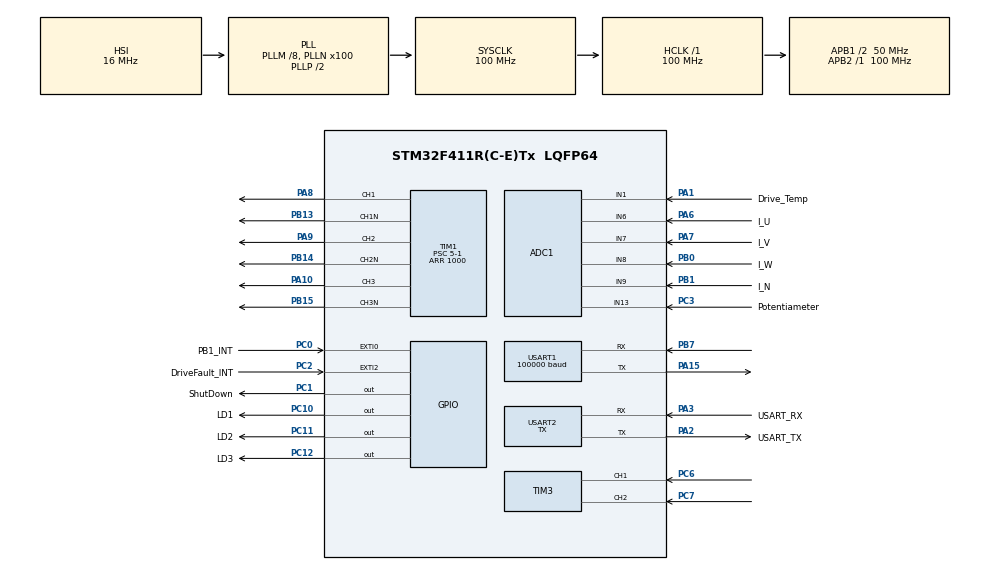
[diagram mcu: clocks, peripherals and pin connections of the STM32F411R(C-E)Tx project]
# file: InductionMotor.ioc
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ADC1.Channel-0\#ChannelRegularConversion=ADC_CHANNEL_1
ADC1.Channel-1\#ChannelRegularConversion=ADC_CHANNEL_6
ADC1.Channel-2\#ChannelRegularConversion=ADC_CHANNEL_7
ADC1.Channel-3\#ChannelRegularConversion=ADC_CHANNEL_8
ADC1.Channel-4\#ChannelRegularConversion=ADC_CHANNEL_9
ADC1.Channel-5\#ChannelRegularConversion=ADC_CHANNEL_13
ADC1.Channel-6\#ChannelRegularConversion=ADC_CHANNEL_TEMPSENSOR
ADC1.ContinuousConvMode=ENABLE
ADC1.DMAContinuousRequests=ENABLE
ADC1.EOCSelection=ADC_EOC_SEQ_CONV
ADC1.NbrOfConversion=7
ADC1.NbrOfConversionFlag=1
ADC1.Rank-0\#ChannelRegularConversion=1
ADC1.Rank-1\#ChannelRegularConversion=2
ADC1.Rank-2\#ChannelRegularConversion=3
ADC1.Rank-3\#ChannelRegularConversion=4
ADC1.Rank-4\#ChannelRegularConversion=5
ADC1.Rank-5\#ChannelRegularConversion=6
ADC1.Rank-6\#ChannelRegularConversion=7
ADC1.SamplingTime-0\#ChannelRegularConversion=ADC_SAMPLETIME_144CYCLES
ADC1.SamplingTime-1\#ChannelRegularConversion=ADC_SAMPLETIME_144CYCLES
ADC1.SamplingTime-2\#ChannelRegularConversion=ADC_SAMPLETIME_144CYCLES
ADC1.SamplingTime-3\#ChannelRegularConversion=ADC_SAMPLETIME_144CYCLES
ADC1.SamplingTime-4\#ChannelRegularConversion=ADC_SAMPLETIME_144CYCLES
ADC1.SamplingTime-5\#ChannelRegularConversion=ADC_SAMPLETIME_144CYCLES
ADC1.SamplingTime-6\#ChannelRegularConversion=ADC_SAMPLETIME_144CYCLES
ADC1.ScanConvMode=ENABLE
ADC1.master=1
Dma.ADC1.1.Direction=DMA_PERIPH_TO_MEMORY
Dma.ADC1.1.FIFOMode=DMA_FIFOMODE_DISABLE
Dma.ADC1.1.Instance=DMA2_Stream0
Dma.ADC1.1.MemDataAlignment=DMA_MDATAALIGN_HALFWORD
Dma.ADC1.1.MemInc=DMA_MINC_ENABLE
Dma.ADC1.1.Mode=DMA_CIRCULAR
Dma.ADC1.1.PeriphDataAlignment=DMA_PDATAALIGN_HALFWORD
Dma.ADC1.1.PeriphInc=DMA_PINC_DISABLE
Dma.ADC1.1.Priority=DMA_PRIORITY_LOW
Dma.Request0=USART1_RX
Dma.Request1=ADC1
Dma.USART1_RX.0.Direction=DMA_PERIPH_TO_MEMORY
Dma.USART1_RX.0.FIFOMode=DMA_FIFOMODE_DISABLE
Dma.USART1_RX.0.Instance=DMA2_Stream2
Dma.USART1_RX.0.MemDataAlignment=DMA_MDATAALIGN_BYTE
Dma.USART1_RX.0.MemInc=DMA_MINC_ENABLE
Dma.USART1_RX.0.Mode=DMA_CIRCULAR
Dma.USART1_RX.0.PeriphDataAlignment=DMA_PDATAALIGN_BYTE
Dma.USART1_RX.0.PeriphInc=DMA_PINC_DISABLE
Dma.USART1_RX.0.Priority=DMA_PRIORITY_LOW
Mcu.Family=STM32F4
Mcu.Name=STM32F411R(C-E)Tx
Mcu.Package=LQFP64
NVIC.ADC_IRQn=true\:0\:0\:true\:false\:true\:true\:true\:true
NVIC.DMA2_Stream0_IRQn=true\:0\:0\:false\:false\:true\:false\:true\:true
NVIC.DMA2_Stream2_IRQn=true\:0\:0\:false\:false\:true\:false\:true\:true
NVIC.EXTI0_IRQn=true\:0\:0\:false\:false\:true\:true\:true\:true
NVIC.EXTI2_IRQn=true\:0\:0\:false\:false\:true\:true\:true\:true
NVIC.PriorityGroup=NVIC_PRIORITYGROUP_0
NVIC.TIM1_UP_TIM10_IRQn=true\:0\:0\:false\:false\:true\:true\:true\:true
NVIC.TIM3_IRQn=true\:0\:0\:false\:false\:true\:true\:true\:true
NVIC.USART2_IRQn=true\:0\:0\:false\:false\:true\:true\:true\:true
PA1.GPIO_Label=Drive_Temp
PA1.Signal=ADCx_IN1
PA10.Signal=S_TIM1_CH3
PA13.GPIO_Label=TMS
PA13.Mode=Trace_Asynchronous_SW
PA13.Signal=SYS_JTMS-SWDIO
PA14.GPIO_Label=TCK
PA14.Mode=Trace_Asynchronous_SW
PA14.Signal=SYS_JTCK-SWCLK
PA15.Mode=Asynchronous
PA15.Signal=USART1_TX
PA2.GPIO_Label=USART_TX
PA2.Mode=Asynchronous
PA2.Signal=USART2_TX
PA3.GPIO_Label=USART_RX
PA3.Mode=Asynchronous
PA3.Signal=USART2_RX
PA6.GPIO_Label=I_U
PA6.Signal=ADCx_IN6
PA7.GPIO_Label=I_V
PA7.Signal=ADCx_IN7
PA8.Signal=S_TIM1_CH1
PA9.Signal=S_TIM1_CH2
PB0.GPIO_Label=I_W
PB0.Signal=ADCx_IN8
PB1.GPIO_Label=I_N
PB1.Signal=ADCx_IN9
PB13.Mode=PWM Generation1 CH1 CH1N
PB13.Signal=TIM1_CH1N
PB14.Mode=PWM Generation2 CH2 CH2N
PB14.Signal=TIM1_CH2N
PB15.Mode=PWM Generation3 CH3 CH3N
PB15.Signal=TIM1_CH3N
PB3.GPIO_Label=SWO
PB3.Mode=Trace_Asynchronous_SW
PB3.Signal=SYS_JTDO-SWO
PB7.Mode=Asynchronous
PB7.Signal=USART1_RX
PC0.GPIO_Label=PB1_INT
PC0.GPIO_ModeDefaultEXTI=GPIO_MODE_IT_RISING
PC0.GPIO_PuPd=GPIO_PULLDOWN
PC0.Signal=GPXTI0
PC1.GPIO_Label=ShutDown
PC1.Signal=GPIO_Output
PC10.GPIO_Label=LD1
PC10.Signal=GPIO_Output
PC11.GPIO_Label=LD2
PC11.Signal=GPIO_Output
PC12.GPIO_Label=LD3
PC12.Signal=GPIO_Output
PC14-OSC32_IN.Signal=RCC_OSC32_IN
PC15-OSC32_OUT.Signal=RCC_OSC32_OUT
PC2.GPIO_Label=DriveFault_INT
PC2.GPIO_PuPd=GPIO_PULLDOWN
PC2.Signal=GPXTI2
PC3.GPIO_Label=Potentiameter
PC3.Signal=ADCx_IN13
PC6.Signal=S_TIM3_CH1
PC7.Signal=S_TIM3_CH2
PH0\ -\ OSC_IN.Signal=RCC_OSC_IN
PH1\ -\ OSC_OUT.Signal=RCC_OSC_OUT
ProjectManager.HeapSize=0x200
ProjectManager.StackSize=0x400
ProjectManager.TargetToolchain=STM32CubeIDE
RCC.48MHZClocksFreq_Value=50000000
RCC.AHBFreq_Value=100000000
RCC.APB1CLKDivider=RCC_HCLK_DIV2
RCC.APB1Freq_Value=50000000
RCC.APB1TimFreq_Value=100000000
RCC.APB2Freq_Value=100000000
RCC.APB2TimFreq_Value=100000000
RCC.CortexFreq_Value=100000000
RCC.FLatency-AdvancedSettings=FLASH_LATENCY_3
RCC.HCLKFreq_Value=100000000
RCC.HSE_VALUE=20000000
RCC.HSI_VALUE=16000000
RCC.LSE_VALUE=32768
RCC.PLLM=8
RCC.PLLN=100
RCC.SYSCLKFreq_VALUE=100000000
RCC.SYSCLKSource=RCC_SYSCLKSOURCE_PLLCLK
RCC.VCOOutputFreq_Value=200000000
SH.ADCx_IN1.0=ADC1_IN1,IN1
SH.ADCx_IN13.0=ADC1_IN13,IN13
SH.ADCx_IN6.0=ADC1_IN6,IN6
SH.ADCx_IN7.0=ADC1_IN7,IN7
SH.ADCx_IN8.0=ADC1_IN8,IN8
SH.ADCx_IN9.0=ADC1_IN9,IN9
SH.S_TIM1_CH1.0=TIM1_CH1,PWM Generation1 CH1 CH1N
SH.S_TIM1_CH2.0=TIM1_CH2,PWM Generation2 CH2 CH2N
SH.S_TIM1_CH3.0=TIM1_CH3,PWM Generation3 CH3 CH3N
SH.S_TIM3_CH1.0=TIM3_CH1,Encoder_Interface
SH.S_TIM3_CH2.0=TIM3_CH2,Encoder_Interface
STMicroelectronics.X-CUBE-ALGOBUILD.1.4.0.LibraryCcDSPOoLibraryJjDSPOoLibrary=true
TIM1.Channel-PWM\ Generation1\ CH1\ CH1N=TIM_CHANNEL_1
TIM1.Channel-PWM\ Generation2\ CH2\ CH2N=TIM_CHANNEL_2
TIM1.Channel-PWM\ Generation3\ CH3\ CH3N=TIM_CHANNEL_3
TIM1.DeadTime=150
TIM1.OCNPolarity_1=TIM_OCNPOLARITY_HIGH
TIM1.Period=1000
TIM1.Prescaler=5-1
TIM1.TIM_MasterOutputTrigger=TIM_TRGO_RESET
TIM10.AutoReloadPreload=TIM_AUTORELOAD_PRELOAD_ENABLE
TIM10.Period=5000-1
TIM3.EncoderMode=TIM_ENCODERMODE_TI12
USART1.BaudRate=100000
USART1.Mode=MODE_RX
USART1.Parity=PARITY_EVEN
USART1.StopBits=STOPBITS_2
USART1.VirtualMode=VM_ASYNC
USART2.Mode=MODE_TX
USART2.VirtualMode=VM_ASYNC
VP_ADC1_TempSens_Input.Mode=IN-TempSens
VP_STMicroelectronics.X-CUBE-ALGOBUILD_VS_DSPOoLibraryJjLibrary_1.4.0_1.4.0.Mode=DSPOoLibraryJjLibrary
VP_TIM10_VS_ClockSourceINT.Mode=Enable_Timer
VP_TIM1_VS_ClockSourceINT.Mode=Internal
board=NUCLEO-F411RE

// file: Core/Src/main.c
/* USER CODE BEGIN Header */
/**
  ******************************************************************************
  * @file           : main.c
  * @brief          : Main program body
  ******************************************************************************
  * @attention
  *
  * Copyright (c) 2024 STMicroelectronics.
  * All rights reserved.
  *
  * This software is licensed under terms that can be found in the LICENSE file
  * in the root directory of this software component.
  * If no LICENSE file comes with this software, it is provided AS-IS.
  *
  ******************************************************************************
  */
/* USER CODE END Header */
#include "main.h"

/* USER CODE BEGIN Includes */
#include <stdio.h>
#include <string.h>
#include <arm_math.h>
#include <stdlib.h>
#include "Sbus.h"
#include "Encoder.h"
#include "SineWave.h"
#include "PID.h"
#include "string.h"
/* USER CODE END Includes */

/* USER CODE BEGIN PTD */
typedef enum{
	Off=0,
	Forward=1,
	Reverse=2
}StateMachine;
/* USER CODE END PTD */

ADC_HandleTypeDef hadc1;
DMA_HandleTypeDef hdma_adc1;

TIM_HandleTypeDef htim1;
TIM_HandleTypeDef htim3;
TIM_HandleTypeDef htim10;

UART_HandleTypeDef huart1;
UART_HandleTypeDef huart2;
DMA_HandleTypeDef hdma_usart1_rx;

/* USER CODE BEGIN PV */
tsbus receivedSBUS;
uint32_t PreviousStepChangeTime=0;
uint32_t FrequencyChangeTime=0;
uint32_t ScreenUpdateTime=0;
int Step=1;
StateMachine State=Off;
StateMachine PreviousState=Forward;
encoder_data Encoder;
int32_t EncoderMeasureTime=0;
int Enable=0;
int ToggleState=0;
int UpdateState = 0;
uint32_t  RequestedFrequency = 0;
StateMachine Direction=0;
ST_SineWave SineWave;
int FiftyMicroSecond;
PID_Controller PID;
uint16_t ADCRawValues[7];
uint8_t ADCReady=0;
float Potentiameter=0;
float MCUTemp=0;
float DriveTemp =0,Current_U =0,Current_V =0,Current_W =0,Current_N =0;
uint8_t PotZeroed =0;
/* USER CODE END PV */

void SystemClock_Config(void);
static void MX_GPIO_Init(void);
static void MX_DMA_Init(void);
static void MX_USART2_UART_Init(void);
static void MX_TIM10_Init(void);
static void MX_TIM1_Init(void);
static void MX_ADC1_Init(void);
static void MX_USART1_UART_Init(void);
static void MX_TIM3_Init(void);
/* USER CODE BEGIN PFP */
void HAL_TIM_IC_CaptureCallback(TIM_HandleTypeDef *htim){
	if (htim->Instance == TIM3){
		Encoder.EncoderValue = __HAL_TIM_GET_COUNTER(htim);
	}
}
void HAL_TIM_PeriodElapsedCallback(TIM_HandleTypeDef *htim){
	if (htim->Instance == TIM10){
		FiftyMicroSecond=1;
	}
}
void HAL_UART_RxCpltCallback(UART_HandleTypeDef *huart){
	if (huart == &huart2){
		ParseSBUS(&receivedSBUS);
	}
}
void HAL_ADC_ConvCpltCallback(ADC_HandleTypeDef *hadc){
	ADCReady=1;
}
void HAL_GPIO_EXTI_Callback(uint16_t GPIO_Pin)
{
  if(GPIO_Pin == GPIO_PIN_0){
	  ToggleState=1;
  }
  if(GPIO_Pin== GPIO_PIN_2){
	  Enable=0;
  }
}
/* USER CODE END PFP */

int main(void)
{

  /* MCU Configuration--------------------------------------------------------*/

  /* Reset of all peripherals, Initializes the Flash interface and the Systick. */
  HAL_Init();

  /* Configure the system clock */
  SystemClock_Config();

  /* Initialize all configured peripherals */
  MX_GPIO_Init();
  MX_DMA_Init();
  MX_USART2_UART_Init();
  MX_TIM10_Init();
  MX_TIM1_Init();
  MX_ADC1_Init();
  MX_USART1_UART_Init();
  MX_TIM3_Init();
  /* USER CODE BEGIN 2 */
//  HAL_TIM_PWM_Start(&htim1, TIM_CHANNEL_1);
//  HAL_TIMEx_PWMN_Start(&htim1, TIM_CHANNEL_1);
//  HAL_TIM_PWM_Start(&htim1, TIM_CHANNEL_2);
//  HAL_TIMEx_PWMN_Start(&htim1, TIM_CHANNEL_2);
//  HAL_TIM_PWM_Start(&htim1, TIM_CHANNEL_3);
//  HAL_TIMEx_PWMN_Start(&htim1, TIM_CHANNEL_3);
  TIM1->BDTR|=1<<15;//Enables timer 1 outputs that are set in CCER and CCER register
  TIM1->CR1|=1<<0;//Enables the counting in timer 1
  HAL_TIM_Base_Start_IT(&htim10);
  HAL_TIM_Encoder_Start_IT(&htim3, TIM_CHANNEL_ALL);
  HAL_UART_Receive_DMA(&huart2, &receivedSBUS.ReceivedData[0], SBUS_LEN);
  HAL_ADC_Start_DMA(&hadc1, (uint16_t*) ADCRawValues, 7);
  /* USER CODE END 2 */

  /* Infinite loop */
  /* USER CODE BEGIN WHILE */
  HAL_UART_Transmit_IT(&huart2, "Induction Driver V2.0\n", strlen("Induction Driver V2.0\n"));
  HAL_GPIO_WritePin(LD1_GPIO_Port, LD1_Pin, 1);
  HAL_Delay(500);
  HAL_GPIO_WritePin(LD2_GPIO_Port, LD2_Pin, 1);
  HAL_GPIO_WritePin(LD1_GPIO_Port, LD1_Pin, 0);
  HAL_Delay(500);
  HAL_GPIO_WritePin(LD3_GPIO_Port, LD3_Pin, 1);
  HAL_GPIO_WritePin(LD2_GPIO_Port, LD2_Pin, 0);
  HAL_Delay(500);
  HAL_GPIO_WritePin(LD3_GPIO_Port, LD3_Pin, 0);
  HAL_Delay(500);

  SineWave.WaveFrequency=MIN_FREQUENCY;
  SineWave.FrequencyA=MIN_FREQUENCY;
  SineWave.FrequencyB=MIN_FREQUENCY;
  SineWave.FrequencyC=MIN_FREQUENCY;

  PID.ControlMode=Velocity;
  PID.Kp=5;
  PID.Ki=0;
  PID.Kd=0;
  PID.dt=10;
  PID.integral=0;
  PID.min_output= 5;
  PID.max_output= 55;
  PID.min_Integral= 5;
  PID.max_Integral= 55;
  PID.output=10;
  PID.target=100;

  HAL_GPIO_WritePin(ShutDown_GPIO_Port, ShutDown_Pin, 0);

  while (1)
  {
	  if(ADCReady==1){
		  ADCReady=0;
		  DriveTemp 	= ADCRawValues[0];
		  Current_U 	= ADCRawValues[1];
		  Current_V 	= ADCRawValues[2];
		  Current_W 	= ADCRawValues[3];
		  Current_N 	= ADCRawValues[4];
		  Potentiameter	= ADCRawValues[5] *100.0/4096.0;
		  MCUTemp		= ADCRawValues[6];
	  }
	  if (Potentiameter<5.0) PotZeroed=1;
	  (PotZeroed==1)? (HAL_GPIO_WritePin(LD1_GPIO_Port,LD1_Pin,0)): (HAL_GPIO_WritePin(LD1_GPIO_Port, LD1_Pin, 1));

	  if (PotZeroed==1 && Potentiameter >=5.0 ){
		  RequestedFrequency= Potentiameter * 60.0/100.0;
		  if (State==Off) ToggleState=1;
	  }

	  //V/F for 208V 60Hz motor under test:
	  double Voltage = ( SineWave.WaveFrequency * (208.0/60.0) ) * 10.0;
	  if ( Voltage < 600) Voltage=600;
	  else if (Voltage >= 1000) Voltage = 1000;
	  SineWave.VoltageAmplitude= trunc(Voltage);
	  //Calculate RPM
	  //read every 10ms so *100*60 to be per minute
	  //1024*4 pulse / revolution on encoder
	  //Pully ratio 20:50
	  //GetEncoderValue(&Encoder); 	//Obsolete since not using GPIO and using timer to capture encoder value
	  if ((HAL_GetTick()-EncoderMeasureTime)>=10){
		  Encoder.SpeedRPM=(Encoder.EncoderValue-Encoder.PreviousEncoderValue)*((60*100)*20)/(1024*4*50);
		  Encoder.PreviousEncoderValue=Encoder.EncoderValue;
		  //PID Speed Control
		  updatePID(&PID, fabs(Encoder.SpeedRPM));
		  //RequestedFrequency=PID.output;
		  //Report Speed on UART
		  char msg[500];
		  uint32_t RequestedRPM=RequestedFrequency*1735/60;
		  uint32_t Slip= RequestedRPM - fabs(Encoder.SpeedRPM);
		  int len= sprintf(msg,"%.2f, U=%.2f, V=%.2f, W=%.2f, %.2f, %.2f, %.2f\n",DriveTemp,Current_U,Current_V,Current_W,Current_N,Potentiameter ,MCUTemp);
		  HAL_UART_Transmit_IT(&huart2, msg, len);
		  EncoderMeasureTime= HAL_GetTick();
	  }
	  //enable/disable by push button
	  if (ToggleState){
		  if (State==Forward || State==Reverse) State=Off;
		  else if (State==Off && PreviousState==Reverse) State=PreviousState=Forward;
		  else if (State==Off && PreviousState==Forward) State=PreviousState=Reverse;
		  ToggleState=0;
	  }
	  //State Machine
	  switch(State){
	  	  case	Off:
	  		  Enable=0;
	  		  break;
	  	  case Forward:
	  		  Enable=1;
	  		  Direction=Forward;
	  		  break;
	  	  case Reverse:
	  		  Enable=1;
	  		  Direction=Reverse;
	  		  break;
	  }
	  //Run motor if enabled
	  Direction=Forward;//testing forward for now
	  RequestedFrequency=30;//testing fixed frequency
	  if(Enable && State!= Off && PotZeroed && Potentiameter >10.0){
		  //Generating Sinusoidal PWM
		  GenerateSine(&SineWave, &FiftyMicroSecond);
		  //Ramp Frequency
		  if ((HAL_GetTick()-FrequencyChangeTime)>=200 && RequestedFrequency != SineWave.WaveFrequency){
			  if (RequestedFrequency > SineWave.WaveFrequency) SineWave.WaveFrequency++;
			  else if (RequestedFrequency < SineWave.WaveFrequency) SineWave.WaveFrequency--;
			  FrequencyChangeTime= HAL_GetTick();
		  }
	  }
	  //if not enabled then stop everything
	  else {
		  SineWave.PhaseA	=SineWave.PhaseB	=SineWave.PhaseC	=0;
		  SineWave.Time	=0;
		  SineWave.WaveFrequency=MIN_FREQUENCY;
	  }
	  //send PWM values out
	  if(Direction==Forward){
		  if (SineWave.PhaseA > 0){
			  TIM1->CCER &= ~(1<<2);
			  TIM1->CCER |=   1<<0;
			  TIM1->CCR1  = SineWave.PhaseA;
		  }
		  else{
			  TIM1->CCER &= ~(1<<0);
			  TIM1->CCER |=   1<<2;
			  TIM1->CCR1  = -1*SineWave.PhaseA;
		  }
		  if (SineWave.PhaseB > 0){
			  TIM1->CCER &= ~(1<<6);
			  TIM1->CCER |=   1<<4;
			  TIM1->CCR2  = SineWave.PhaseB;
		  }
		  else{
			  TIM1->CCER &= ~(1<<4);
			  TIM1->CCER |=   1<<6;
			  TIM1->CCR2  = -1*SineWave.PhaseB;
		  }
		  if (SineWave.PhaseC > 0){
			  TIM1->CCER &= ~(1<<10);
			  TIM1->CCER |=   1<<8;
			  TIM1->CCR3  = SineWave.PhaseC;
		  }
		  else{
			  TIM1->CCER &= ~(1<<8);
			  TIM1->CCER |=   1<<10;
			  TIM1->CCR3  = -1*SineWave.PhaseC;
		  }
	  }
	  else if (Direction==Reverse){
		  if (SineWave.PhaseA > 0){
			  TIM1->CCER &= ~(1<<2);
			  TIM1->CCER |=   1<<0;
			  TIM1->CCR2  = SineWave.PhaseA;
		  }
		  else{
			  TIM1->CCER &= ~(1<<0);
			  TIM1->CCER |=   1<<2;
			  TIM1->CCR2  = -1*SineWave.PhaseA;
		  }
		  if (SineWave.PhaseB > 0){
			  TIM1->CCER &= ~(1<<6);
			  TIM1->CCER |=   1<<4;
			  TIM1->CCR1  = SineWave.PhaseB;
		  }
		  else{
			  TIM1->CCER &= ~(1<<4);
			  TIM1->CCER |=   1<<6;
			  TIM1->CCR1  = -1*SineWave.PhaseB;
		  }
		  if (SineWave.PhaseC > 0){
			  TIM1->CCER &= ~(1<<10);
			  TIM1->CCER |=   1<<8;
			  TIM1->CCR3  = SineWave.PhaseC;
		  }
		  else{
			  TIM1->CCER &= ~(1<<8);
			  TIM1->CCER |=   1<<10;
			  TIM1->CCR3  = -1*SineWave.PhaseC;
		  }
	  }
	  else{ TIM1->CCR1 = TIM1->CCR2 = TIM1->CCR3 = 0; }
    /* USER CODE END WHILE */

  }
}

void SystemClock_Config(void)
{
  RCC_OscInitTypeDef RCC_OscInitStruct = {0};
  RCC_ClkInitTypeDef RCC_ClkInitStruct = {0};

  /** Configure the main internal regulator output voltage
  */
  __HAL_RCC_PWR_CLK_ENABLE();
  __HAL_PWR_VOLTAGESCALING_CONFIG(PWR_REGULATOR_VOLTAGE_SCALE1);

  /** Initializes the RCC Oscillators according to the specified parameters
  * in the RCC_OscInitTypeDef structure.
  */
  RCC_OscInitStruct.OscillatorType = RCC_OSCILLATORTYPE_HSI;
  RCC_OscInitStruct.HSIState = RCC_HSI_ON;
  RCC_OscInitStruct.HSICalibrationValue = RCC_HSICALIBRATION_DEFAULT;
  RCC_OscInitStruct.PLL.PLLState = RCC_PLL_ON;
  RCC_OscInitStruct.PLL.PLLSource = RCC_PLLSOURCE_HSI;
  RCC_OscInitStruct.PLL.PLLM = 8;
  RCC_OscInitStruct.PLL.PLLN = 100;
  RCC_OscInitStruct.PLL.PLLP = RCC_PLLP_DIV2;
  RCC_OscInitStruct.PLL.PLLQ = 4;
  if (HAL_RCC_OscConfig(&RCC_OscInitStruct) != HAL_OK)
  {
    Error_Handler();
  }

  /** Initializes the CPU, AHB and APB buses clocks
  */
  RCC_ClkInitStruct.ClockType = RCC_CLOCKTYPE_HCLK|RCC_CLOCKTYPE_SYSCLK
                              |RCC_CLOCKTYPE_PCLK1|RCC_CLOCKTYPE_PCLK2;
  RCC_ClkInitStruct.SYSCLKSource = RCC_SYSCLKSOURCE_PLLCLK;
  RCC_ClkInitStruct.AHBCLKDivider = RCC_SYSCLK_DIV1;
  RCC_ClkInitStruct.APB1CLKDivider = RCC_HCLK_DIV2;
  RCC_ClkInitStruct.APB2CLKDivider = RCC_HCLK_DIV1;

  if (HAL_RCC_ClockConfig(&RCC_ClkInitStruct, FLASH_LATENCY_3) != HAL_OK)
  {
    Error_Handler();
  }
}

static void MX_ADC1_Init(void)
{

  ADC_ChannelConfTypeDef sConfig = {0};

  /** Configure the global features of the ADC (Clock, Resolution, Data Alignment and number of conversion)
  */
  hadc1.Instance = ADC1;
  hadc1.Init.ClockPrescaler = ADC_CLOCK_SYNC_PCLK_DIV4;
  hadc1.Init.Resolution = ADC_RESOLUTION_12B;
  hadc1.Init.ScanConvMode = ENABLE;
  hadc1.Init.ContinuousConvMode = ENABLE;
  hadc1.Init.DiscontinuousConvMode = DISABLE;
  hadc1.Init.ExternalTrigConvEdge = ADC_EXTERNALTRIGCONVEDGE_NONE;
  hadc1.Init.ExternalTrigConv = ADC_SOFTWARE_START;
  hadc1.Init.DataAlign = ADC_DATAALIGN_RIGHT;
  hadc1.Init.NbrOfConversion = 7;
  hadc1.Init.DMAContinuousRequests = ENABLE;
  hadc1.Init.EOCSelection = ADC_EOC_SEQ_CONV;
  if (HAL_ADC_Init(&hadc1) != HAL_OK)
  {
    Error_Handler();
  }

  /** Configure for the selected ADC regular channel its corresponding rank in the sequencer and its sample time.
  */
  sConfig.Channel = ADC_CHANNEL_1;
  sConfig.Rank = 1;
  sConfig.SamplingTime = ADC_SAMPLETIME_144CYCLES;
  if (HAL_ADC_ConfigChannel(&hadc1, &sConfig) != HAL_OK)
  {
    Error_Handler();
  }

  /** Configure for the selected ADC regular channel its corresponding rank in the sequencer and its sample time.
  */
  sConfig.Channel = ADC_CHANNEL_6;
  sConfig.Rank = 2;
  if (HAL_ADC_ConfigChannel(&hadc1, &sConfig) != HAL_OK)
  {
    Error_Handler();
  }

  /** Configure for the selected ADC regular channel its corresponding rank in the sequencer and its sample time.
  */
  sConfig.Channel = ADC_CHANNEL_7;
  sConfig.Rank = 3;
  if (HAL_ADC_ConfigChannel(&hadc1, &sConfig) != HAL_OK)
  {
    Error_Handler();
  }

  /** Configure for the selected ADC regular channel its corresponding rank in the sequencer and its sample time.
  */
  sConfig.Channel = ADC_CHANNEL_8;
  sConfig.Rank = 4;
  if (HAL_ADC_ConfigChannel(&hadc1, &sConfig) != HAL_OK)
  {
    Error_Handler();
  }

  /** Configure for the selected ADC regular channel its corresponding rank in the sequencer and its sample time.
  */
  sConfig.Channel = ADC_CHANNEL_9;
  sConfig.Rank = 5;
  if (HAL_ADC_ConfigChannel(&hadc1, &sConfig) != HAL_OK)
  {
    Error_Handler();
  }

  /** Configure for the selected ADC regular channel its corresponding rank in the sequencer and its sample time.
  */
  sConfig.Channel = ADC_CHANNEL_13;
  sConfig.Rank = 6;
  if (HAL_ADC_ConfigChannel(&hadc1, &sConfig) != HAL_OK)
  {
    Error_Handler();
  }

  /** Configure for the selected ADC regular channel its corresponding rank in the sequencer and its sample time.
  */
  sConfig.Channel = ADC_CHANNEL_TEMPSENSOR;
  sConfig.Rank = 7;
  if (HAL_ADC_ConfigChannel(&hadc1, &sConfig) != HAL_OK)
  {
    Error_Handler();
  }

}

static void MX_TIM1_Init(void)
{

  TIM_ClockConfigTypeDef sClockSourceConfig = {0};
  TIM_MasterConfigTypeDef sMasterConfig = {0};
  TIM_OC_InitTypeDef sConfigOC = {0};
  TIM_BreakDeadTimeConfigTypeDef sBreakDeadTimeConfig = {0};

  htim1.Instance = TIM1;
  htim1.Init.Prescaler = 5-1;
  htim1.Init.CounterMode = TIM_COUNTERMODE_UP;
  htim1.Init.Period = 1000;
  htim1.Init.ClockDivision = TIM_CLOCKDIVISION_DIV1;
  htim1.Init.RepetitionCounter = 0;
  htim1.Init.AutoReloadPreload = TIM_AUTORELOAD_PRELOAD_DISABLE;
  if (HAL_TIM_Base_Init(&htim1) != HAL_OK)
  {
    Error_Handler();
  }
  sClockSourceConfig.ClockSource = TIM_CLOCKSOURCE_INTERNAL;
  if (HAL_TIM_ConfigClockSource(&htim1, &sClockSourceConfig) != HAL_OK)
  {
    Error_Handler();
  }
  if (HAL_TIM_PWM_Init(&htim1) != HAL_OK)
  {
    Error_Handler();
  }
  sMasterConfig.MasterOutputTrigger = TIM_TRGO_RESET;
  sMasterConfig.MasterSlaveMode = TIM_MASTERSLAVEMODE_DISABLE;
  if (HAL_TIMEx_MasterConfigSynchronization(&htim1, &sMasterConfig) != HAL_OK)
  {
    Error_Handler();
  }
  sConfigOC.OCMode = TIM_OCMODE_PWM1;
  sConfigOC.Pulse = 0;
  sConfigOC.OCPolarity = TIM_OCPOLARITY_HIGH;
  sConfigOC.OCNPolarity = TIM_OCNPOLARITY_HIGH;
  sConfigOC.OCFastMode = TIM_OCFAST_DISABLE;
  sConfigOC.OCIdleState = TIM_OCIDLESTATE_RESET;
  sConfigOC.OCNIdleState = TIM_OCNIDLESTATE_RESET;
  if (HAL_TIM_PWM_ConfigChannel(&htim1, &sConfigOC, TIM_CHANNEL_1) != HAL_OK)
  {
    Error_Handler();
  }
  if (HAL_TIM_PWM_ConfigChannel(&htim1, &sConfigOC, TIM_CHANNEL_2) != HAL_OK)
  {
    Error_Handler();
  }
  if (HAL_TIM_PWM_ConfigChannel(&htim1, &sConfigOC, TIM_CHANNEL_3) != HAL_OK)
  {
    Error_Handler();
  }
  sBreakDeadTimeConfig.OffStateRunMode = TIM_OSSR_DISABLE;
  sBreakDeadTimeConfig.OffStateIDLEMode = TIM_OSSI_DISABLE;
  sBreakDeadTimeConfig.LockLevel = TIM_LOCKLEVEL_OFF;
  sBreakDeadTimeConfig.DeadTime = 150;
  sBreakDeadTimeConfig.BreakState = TIM_BREAK_DISABLE;
  sBreakDeadTimeConfig.BreakPolarity = TIM_BREAKPOLARITY_HIGH;
  sBreakDeadTimeConfig.AutomaticOutput = TIM_AUTOMATICOUTPUT_DISABLE;
  if (HAL_TIMEx_ConfigBreakDeadTime(&htim1, &sBreakDeadTimeConfig) != HAL_OK)
  {
    Error_Handler();
  }
  HAL_TIM_MspPostInit(&htim1);

}

static void MX_TIM3_Init(void)
{

  TIM_Encoder_InitTypeDef sConfig = {0};
  TIM_MasterConfigTypeDef sMasterConfig = {0};

  htim3.Instance = TIM3;
  htim3.Init.Prescaler = 0;
  htim3.Init.CounterMode = TIM_COUNTERMODE_UP;
  htim3.Init.Period = 65535;
  htim3.Init.ClockDivision = TIM_CLOCKDIVISION_DIV1;
  htim3.Init.AutoReloadPreload = TIM_AUTORELOAD_PRELOAD_DISABLE;
  sConfig.EncoderMode = TIM_ENCODERMODE_TI12;
  sConfig.IC1Polarity = TIM_ICPOLARITY_RISING;
  sConfig.IC1Selection = TIM_ICSELECTION_DIRECTTI;
  sConfig.IC1Prescaler = TIM_ICPSC_DIV1;
  sConfig.IC1Filter = 0;
  sConfig.IC2Polarity = TIM_ICPOLARITY_RISING;
  sConfig.IC2Selection = TIM_ICSELECTION_DIRECTTI;
  sConfig.IC2Prescaler = TIM_ICPSC_DIV1;
  sConfig.IC2Filter = 0;
  if (HAL_TIM_Encoder_Init(&htim3, &sConfig) != HAL_OK)
  {
    Error_Handler();
  }
  sMasterConfig.MasterOutputTrigger = TIM_TRGO_RESET;
  sMasterConfig.MasterSlaveMode = TIM_MASTERSLAVEMODE_DISABLE;
  if (HAL_TIMEx_MasterConfigSynchronization(&htim3, &sMasterConfig) != HAL_OK)
  {
    Error_Handler();
  }

}

static void MX_TIM10_Init(void)
{

  htim10.Instance = TIM10;
  htim10.Init.Prescaler = 0;
  htim10.Init.CounterMode = TIM_COUNTERMODE_UP;
  htim10.Init.Period = 5000-1;
  htim10.Init.ClockDivision = TIM_CLOCKDIVISION_DIV1;
  htim10.Init.AutoReloadPreload = TIM_AUTORELOAD_PRELOAD_ENABLE;
  if (HAL_TIM_Base_Init(&htim10) != HAL_OK)
  {
    Error_Handler();
  }

}

static void MX_USART1_UART_Init(void)
{

  huart1.Instance = USART1;
  huart1.Init.BaudRate = 100000;
  huart1.Init.WordLength = UART_WORDLENGTH_8B;
  huart1.Init.StopBits = UART_STOPBITS_2;
  huart1.Init.Parity = UART_PARITY_EVEN;
  huart1.Init.Mode = UART_MODE_RX;
  huart1.Init.HwFlowCtl = UART_HWCONTROL_NONE;
  huart1.Init.OverSampling = UART_OVERSAMPLING_16;
  if (HAL_UART_Init(&huart1) != HAL_OK)
  {
    Error_Handler();
  }

}

static void MX_USART2_UART_Init(void)
{

  huart2.Instance = USART2;
  huart2.Init.BaudRate = 115200;
  huart2.Init.WordLength = UART_WORDLENGTH_8B;
  huart2.Init.StopBits = UART_STOPBITS_1;
  huart2.Init.Parity = UART_PARITY_NONE;
  huart2.Init.Mode = UART_MODE_TX;
  huart2.Init.HwFlowCtl = UART_HWCONTROL_NONE;
  huart2.Init.OverSampling = UART_OVERSAMPLING_16;
  if (HAL_UART_Init(&huart2) != HAL_OK)
  {
    Error_Handler();
  }

}

static void MX_DMA_Init(void)
{

  /* DMA controller clock enable */
  __HAL_RCC_DMA2_CLK_ENABLE();

  /* DMA interrupt init */
  /* DMA2_Stream0_IRQn interrupt configuration */
  HAL_NVIC_SetPriority(DMA2_Stream0_IRQn, 0, 0);
  HAL_NVIC_EnableIRQ(DMA2_Stream0_IRQn);
  /* DMA2_Stream2_IRQn interrupt configuration */
  HAL_NVIC_SetPriority(DMA2_Stream2_IRQn, 0, 0);
  HAL_NVIC_EnableIRQ(DMA2_Stream2_IRQn);

}

static void MX_GPIO_Init(void)
{
  GPIO_InitTypeDef GPIO_InitStruct = {0};

  /* GPIO Ports Clock Enable */
  __HAL_RCC_GPIOC_CLK_ENABLE();
  __HAL_RCC_GPIOH_CLK_ENABLE();
  __HAL_RCC_GPIOA_CLK_ENABLE();
  __HAL_RCC_GPIOB_CLK_ENABLE();

  /*Configure GPIO pin Output Level */
  HAL_GPIO_WritePin(GPIOC, ShutDown_Pin|LD1_Pin|LD2_Pin|LD3_Pin, GPIO_PIN_RESET);

  /*Configure GPIO pins : PB1_INT_Pin DriveFault_INT_Pin */
  GPIO_InitStruct.Pin = PB1_INT_Pin|DriveFault_INT_Pin;
  GPIO_InitStruct.Mode = GPIO_MODE_IT_RISING;
  GPIO_InitStruct.Pull = GPIO_PULLDOWN;
  HAL_GPIO_Init(GPIOC, &GPIO_InitStruct);

  /*Configure GPIO pins : ShutDown_Pin LD1_Pin LD2_Pin LD3_Pin */
  GPIO_InitStruct.Pin = ShutDown_Pin|LD1_Pin|LD2_Pin|LD3_Pin;
  GPIO_InitStruct.Mode = GPIO_MODE_OUTPUT_PP;
  GPIO_InitStruct.Pull = GPIO_NOPULL;
  GPIO_InitStruct.Speed = GPIO_SPEED_FREQ_LOW;
  HAL_GPIO_Init(GPIOC, &GPIO_InitStruct);

  /* EXTI interrupt init*/
  HAL_NVIC_SetPriority(EXTI0_IRQn, 0, 0);
  HAL_NVIC_EnableIRQ(EXTI0_IRQn);

  HAL_NVIC_SetPriority(EXTI2_IRQn, 0, 0);
  HAL_NVIC_EnableIRQ(EXTI2_IRQn);

}

void Error_Handler(void)
{
  __disable_irq();
  while (1)
  {
  }
}
